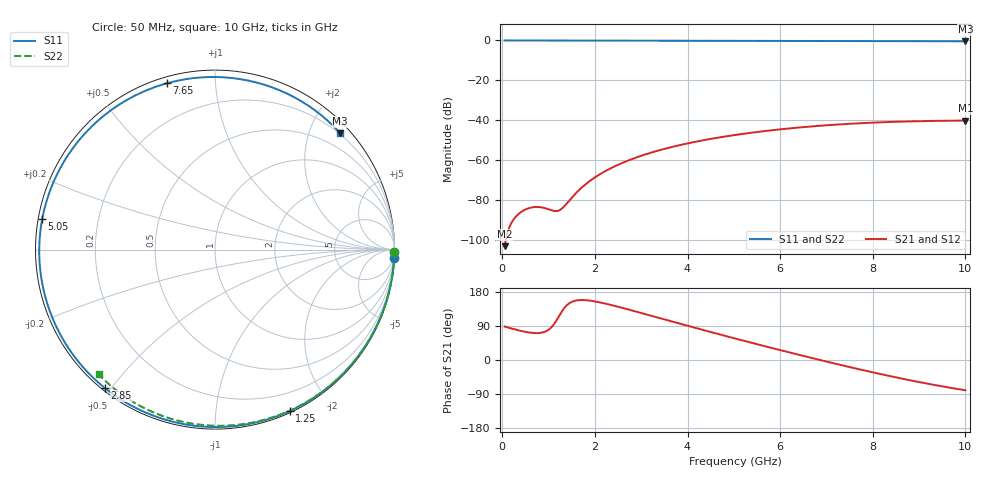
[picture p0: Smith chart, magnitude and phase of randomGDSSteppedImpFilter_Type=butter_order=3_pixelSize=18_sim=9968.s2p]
! freq	dB(S11)	phase(S11)	dB(S12)	phase(S12)
!  dB(S21)	phase(S21)	dB(S22)	phase(S22)
!S-par simulation data
#  GHz  S  DB  R 50
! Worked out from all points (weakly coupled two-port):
!   200 points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, 50 MHz to 10 GHz, reference 50 ohm
!   highest |S21| = -40.24 dB at 10 GHz (marker M1); lowest = -103.3 dB at 50 MHz (marker M2)
!   lowest |S11| = -0.4 dB at 10 GHz (marker M3), VSWR 41.01, Z = 9.09 + j127 ohm
!   |S11| at or under -10 dB: nowhere
!   |S22| runs from -0.4 to 0.0 dB; largest |S21 - S12| = 0
!   S11 on the Smith chart (normalised r, x): 50 MHz: 0, -41; 1.25 GHz: 0.02, -1.56; 2.85 GHz: 0.01, -0.48; 5.05 GHz: 0.01, +0.09; 7.65 GHz: 0.03, +0.75; 10 GHz: 0.18, +2.54
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0.05  -0.00 -2.8  -103.28 88.4  -103.28 88.4  -0.00 -0.8
0.3  -0.02 -16.5  -88.25 79.9  -88.25 79.9  -0.01 -4.6
0.6  -0.04 -32.6  -84.03 72.2  -84.03 72.2  -0.01 -9.2
0.95  -0.06 -50.6  -84.37 76.1  -84.37 76.1  -0.02 -14.5
1.25  -0.08 -65.2  -85.04 121.0  -85.04 121.0  -0.02 -19.0
1.45  -0.09 -74.4  -80.27 150.0  -80.27 150.0  -0.03 -22.1
1.75  -0.10 -87.6  -73.15 158.2  -73.15 158.2  -0.03 -26.5
2  -0.11 -97.8  -68.75 154.6  -68.75 154.6  -0.04 -30.2
2.25  -0.11 -107.4  -65.28 148.1  -65.28 148.1  -0.04 -33.9
2.85  -0.13 -128.5  -59.12 129.1  -59.12 129.1  -0.06 -42.7
3.4  -0.14 -145.6  -55.07 110.5  -55.07 110.5  -0.07 -50.5
3.8  -0.15 -157.2  -52.72 97.1  -52.72 97.1  -0.08 -56.1
4.2  -0.17 -168.1  -50.73 83.7  -50.73 83.7  -0.09 -61.6
4.6  -0.18 -178.5  -49.02 70.6  -49.02 70.6  -0.10 -67.1
5.05  -0.20 170.1  -47.37 56.0  -47.37 56.0  -0.11 -73.1
5.85  -0.23 150.5  -45.01 30.7  -45.01 30.7  -0.14 -83.5
6.7  -0.27 129.8  -43.12 4.8  -43.12 4.8  -0.18 -94.1
7.65  -0.31 106.2  -41.65 -22.9  -41.65 -22.9  -0.24 -105.7
8.35  -0.34 88.2  -40.95 -41.9  -40.95 -41.9  -0.29 -114.0
9.15  -0.38 66.7  -40.46 -61.7  -40.46 -61.7  -0.36 -123.2
9.55  -0.40 55.6  -40.33 -70.7  -40.33 -70.7  -0.40 -127.8
10  -0.42 42.9  -40.24 -79.9  -40.24 -79.9  -0.45 -133.0
